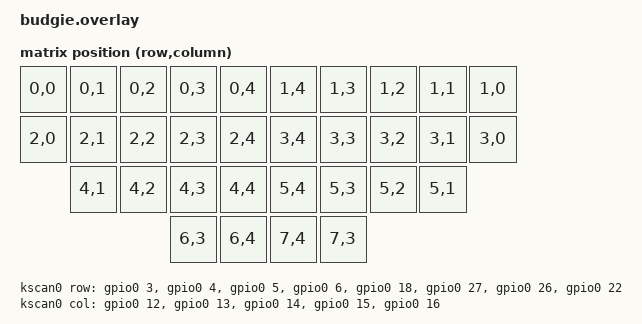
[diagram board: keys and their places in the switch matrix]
#include <dt-bindings/zmk/matrix_transform.h>
/ {

    kscan0: kscan0 {
        compatible = "zmk,kscan-gpio-matrix";
        diode-direction = "col2row";
        wakeup-source;

        col-gpios
            = <&gpio0 12 GPIO_ACTIVE_HIGH>
            , <&gpio0 13 GPIO_ACTIVE_HIGH>
            , <&gpio0 14 GPIO_ACTIVE_HIGH>
            , <&gpio0 15 GPIO_ACTIVE_HIGH>
            , <&gpio0 16 GPIO_ACTIVE_HIGH>
            ;

        row-gpios
            = <&gpio0 3 (GPIO_ACTIVE_HIGH | GPIO_PULL_DOWN)>
            , <&gpio0 4 (GPIO_ACTIVE_HIGH | GPIO_PULL_DOWN)>
            , <&gpio0 5 (GPIO_ACTIVE_HIGH | GPIO_PULL_DOWN)>
            , <&gpio0 6 (GPIO_ACTIVE_HIGH | GPIO_PULL_DOWN)>
            , <&gpio0 18 (GPIO_ACTIVE_HIGH | GPIO_PULL_DOWN)>
            , <&gpio0 27 (GPIO_ACTIVE_HIGH | GPIO_PULL_DOWN)>
            , <&gpio0 26 (GPIO_ACTIVE_HIGH | GPIO_PULL_DOWN)>
            , <&gpio0 22 (GPIO_ACTIVE_HIGH | GPIO_PULL_DOWN)>
            ;
    };


    default_transform: keymap_transform0 {
        compatible = "zmk,matrix-transform";
        columns = <5>; // Length of the "col-gpios" array
        rows = <8>; // Length of the "row-gpios" array
        map = <
            RC(0,0) RC(0,1) RC(0,2) RC(0,3) RC(0,4) RC(1,4) RC(1,3) RC(1,2) RC(1,1) RC(1,0)
            RC(2,0) RC(2,1) RC(2,2) RC(2,3) RC(2,4) RC(3,4) RC(3,3) RC(3,2) RC(3,1) RC(3,0)
            		RC(4,1) RC(4,2) RC(4,3) RC(4,4) RC(5,4) RC(5,3) RC(5,2) RC(5,1)
            						RC(6,3) RC(6,4) RC(7,4) RC(7,3) 
        >;
    };

    physical_layout0: physical_layout_0 { // First physical layout, use different naming for other layouts
        compatible = "zmk,physical-layout";
        display-name = "Default Layout";
        kscan = <&kscan0>; // Label of the kscan node, optional if all layouts use the same
        transform = <&default_transform>; // Label of the matrix transform for this layout
    };

    chosen {
        zmk,physical-layout = &physical_layout0;
        // Other chosen items
    };

};
